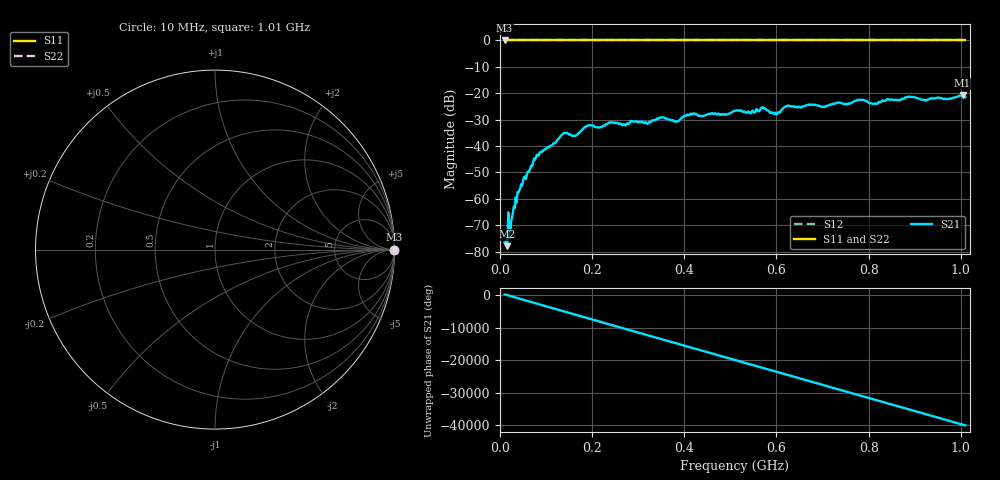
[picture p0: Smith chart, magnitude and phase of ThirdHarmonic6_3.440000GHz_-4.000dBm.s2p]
! 8/17/2025 11:05:05 AM
! C:\ANRITSUVNA\TEMP\TEMP.S2P
! CHANNEL.1
! TR.MEASUREMENT
! RAW.DATA
! RF.CORRECTION.OFF
! AVERAGING.OFF
! IF.BANDWIDTH: 5KHZ
! SWEEPTYPE:  FREQ.SWEEP(Linear)
! Reference Plane Port Info
! PORT:  PORT1  PORT2
! DISTANCE:  0  m  0  m
! TIME:  0  s  0  s
! PHASE.OFFSET:  0  deg.  0  deg.
! LOSS:  0  dB  0  dB
! REF.LOSS:  0  dB  0  dB
! REF.FREQ:  0  Hz  0  Hz
! Power Info
! POWER:  -20  dBm  -20  dBm
! EFF.POWER:  -20  dBm  -20  dBm
! SOURCE.ATTEN:  0  dB  0  dB
! TEST.ATTEN:  0  dB  0  dB
# GHZ S RI R 50.0
! FREQ.GHZ  S11RE  S11IM  S21RE  S21IM  S12RE  S12IM  S22RE  S22IM
!; PortSelection: Port_12
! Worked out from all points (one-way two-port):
!   501 points, 10 MHz to 1.01 GHz, reference 50 ohm
!   highest |S21| = -20.84 dB at 1.004 GHz (marker M1); lowest = -78.0 dB at 16 MHz (marker M2)
!   lowest |S11| = 0.0 dB at 10 MHz (marker M3)
!   |S11| at or under -10 dB: nowhere
!   |S22| runs from 0.0 to 0.0 dB; largest |S21 - S12| = 1.1
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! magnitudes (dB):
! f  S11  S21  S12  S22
! 10 MHz  0.0  -76.6  0.0  0.0
! 12 MHz  0.0  -76.5  0.0  0.0
! 16 MHz  0.0  -78.0  0.0  0.0
! 24 MHz  0.0  -68.6  0.0  0.0
! 30 MHz  0.0  -63.0  0.0  0.0
! 42 MHz  0.0  -56.8  0.0  0.0
! 78 MHz  0.0  -44.4  0.0  0.0
! 136 MHz  0.0  -35.6  0.0  0.0
! 162 MHz  0.0  -36.2  0.0  0.0
! 178 MHz  0.0  -33.9  0.0  0.0
! 194 MHz  0.0  -32.1  0.0  0.0
! 344 MHz  0.0  -29.6  0.0  0.0
! 382 MHz  0.0  -30.7  0.0  0.0
! 418 MHz  0.0  -28.0  0.0  0.0
! 510 MHz  0.0  -26.7  0.0  0.0
! 572 MHz  0.0  -25.6  0.0  0.0
! 598 MHz  0.0  -27.5  0.0  0.0
! 624 MHz  0.0  -24.8  0.0  0.0
! 678 MHz  0.0  -24.3  0.0  0.0
! 844 MHz  0.0  -22.3  0.0  0.0
! 1.004 GHz  0.0  -20.8  0.0  0.0
! 1.01 GHz  0.0  -21.5  0.0  0.0
